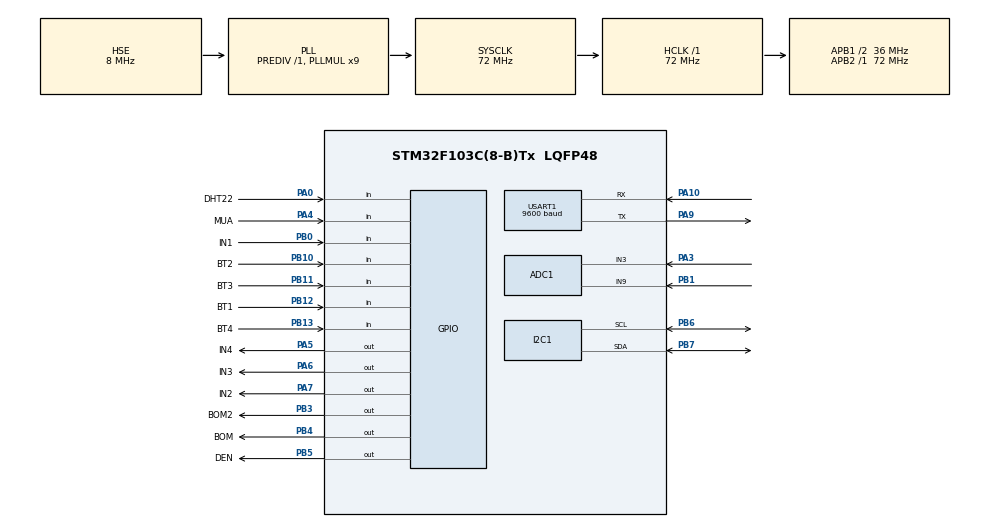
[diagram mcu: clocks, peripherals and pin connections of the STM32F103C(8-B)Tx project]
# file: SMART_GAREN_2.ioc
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ADC1.Channel-4\#ChannelRegularConversion=ADC_CHANNEL_9
ADC1.Channel-5\#ChannelRegularConversion=ADC_CHANNEL_3
ADC1.ContinuousConvMode=DISABLE
ADC1.EnableRegularConversion=ENABLE
ADC1.NbrOfConversion=2
ADC1.NbrOfConversionFlag=1
ADC1.Rank-4\#ChannelRegularConversion=1
ADC1.Rank-5\#ChannelRegularConversion=2
ADC1.SamplingTime-4\#ChannelRegularConversion=ADC_SAMPLETIME_28CYCLES_5
ADC1.SamplingTime-5\#ChannelRegularConversion=ADC_SAMPLETIME_55CYCLES_5
ADC1.master=1
Dma.ADC1.0.Direction=DMA_PERIPH_TO_MEMORY
Dma.ADC1.0.Instance=DMA1_Channel1
Dma.ADC1.0.MemDataAlignment=DMA_MDATAALIGN_HALFWORD
Dma.ADC1.0.MemInc=DMA_MINC_ENABLE
Dma.ADC1.0.Mode=DMA_CIRCULAR
Dma.ADC1.0.PeriphDataAlignment=DMA_PDATAALIGN_HALFWORD
Dma.ADC1.0.PeriphInc=DMA_PINC_DISABLE
Dma.ADC1.0.Priority=DMA_PRIORITY_LOW
Dma.Request0=ADC1
Mcu.Family=STM32F1
Mcu.Name=STM32F103C(8-B)Tx
Mcu.Package=LQFP48
NVIC.DMA1_Channel1_IRQn=true\:0\:0\:false\:false\:true\:false\:true\:true
NVIC.PriorityGroup=NVIC_PRIORITYGROUP_4
NVIC.USART1_IRQn=true\:0\:0\:false\:false\:true\:true\:true\:true
PA0-WKUP.GPIO_Label=DHT22
PA0-WKUP.Signal=GPIO_Input
PA10.Mode=Asynchronous
PA10.Signal=USART1_RX
PA13.Mode=Serial_Wire
PA13.Signal=SYS_JTMS-SWDIO
PA14.Mode=Serial_Wire
PA14.Signal=SYS_JTCK-SWCLK
PA3.Signal=ADCx_IN3
PA4.GPIO_Label=MUA
PA4.GPIO_PuPd=GPIO_PULLUP
PA4.Signal=GPIO_Input
PA5.GPIO_Label=IN4
PA5.Signal=GPIO_Output
PA6.GPIO_Label=IN3
PA6.Signal=GPIO_Output
PA7.GPIO_Label=IN2
PA7.Signal=GPIO_Output
PA9.Mode=Asynchronous
PA9.Signal=USART1_TX
PB0.GPIO_Label=IN1
PB0.Signal=GPIO_Input
PB1.Signal=ADCx_IN9
PB10.GPIO_Label=BT2
PB10.GPIO_PuPd=GPIO_PULLUP
PB10.Signal=GPIO_Input
PB11.GPIO_Label=BT3
PB11.GPIO_PuPd=GPIO_PULLUP
PB11.Signal=GPIO_Input
PB12.GPIO_Label=BT1
PB12.GPIO_PuPd=GPIO_PULLUP
PB12.Signal=GPIO_Input
PB13.GPIO_Label=BT4
PB13.GPIO_PuPd=GPIO_PULLUP
PB13.Signal=GPIO_Input
PB3.GPIO_Label=BOM2
PB3.Signal=GPIO_Output
PB4.GPIO_Label=BOM
PB4.Signal=GPIO_Output
PB5.GPIO_Label=DEN
PB5.Signal=GPIO_Output
PB6.GPIO_Pu=GPIO_PULLUP
PB6.Mode=I2C
PB6.Signal=I2C1_SCL
PB7.GPIO_Pu=GPIO_PULLUP
PB7.Mode=I2C
PB7.Signal=I2C1_SDA
PD0-OSC_IN.Mode=HSE-External-Oscillator
PD0-OSC_IN.Signal=RCC_OSC_IN
PD1-OSC_OUT.Mode=HSE-External-Oscillator
PD1-OSC_OUT.Signal=RCC_OSC_OUT
ProjectManager.HeapSize=0x200
ProjectManager.StackSize=0x400
ProjectManager.TargetToolchain=STM32CubeIDE
RCC.ADCPresc=RCC_ADCPCLK2_DIV6
RCC.AHBFreq_Value=72000000
RCC.APB1CLKDivider=RCC_HCLK_DIV2
RCC.APB1Freq_Value=36000000
RCC.APB1TimFreq_Value=72000000
RCC.APB2Freq_Value=72000000
RCC.APB2TimFreq_Value=72000000
RCC.HCLKFreq_Value=72000000
RCC.PLLMUL=RCC_PLL_MUL9
RCC.PLLSourceVirtual=RCC_PLLSOURCE_HSE
RCC.SYSCLKFreq_VALUE=72000000
RCC.SYSCLKSource=RCC_SYSCLKSOURCE_PLLCLK
RCC.USBFreq_Value=72000000
SH.ADCx_IN3.0=ADC1_IN3,IN3
SH.ADCx_IN9.0=ADC1_IN9,IN9
TIM1.Period=0xffff-1
TIM1.Prescaler=72-1
USART1.BaudRate=9600
USART1.VirtualMode=VM_ASYNC
VP_TIM1_VS_ClockSourceINT.Mode=Internal
board=custom

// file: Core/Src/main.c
/* USER CODE BEGIN Header */
/**
 ******************************************************************************
 * @file           : main.c
 * @brief          : Main program body
 ******************************************************************************
 * @attention
 *
 * <h2><center>&copy; Copyright (c) 2023 STMicroelectronics.
 * All rights reserved.</center></h2>
 *
 * This software component is licensed by ST under BSD 3-Clause license,
 * the "License"; You may not use this file except in compliance with the
 * License. You may obtain a copy of the License at:
 *                        opensource.org/licenses/BSD-3-Clause
 *
 ******************************************************************************
 */
/* USER CODE END Header */
#include "main.h"

/* USER CODE BEGIN Includes */
//#include "stdbool.h"
#include "stdio.h"			// THU VIEN GHEP CHUOI
#include "string.h"			// KIEU CHUOI
#include "i2c-lcd.h"		// THU VIEN I2C LCD
#include "button.h"			// THU VIEN N�?T NHẤN
/* USER CODE END Includes */

ADC_HandleTypeDef hadc1;
DMA_HandleTypeDef hdma_adc1;

I2C_HandleTypeDef hi2c1;

TIM_HandleTypeDef htim1;

UART_HandleTypeDef huart1;

/* USER CODE BEGIN PV */
Button_t bt1, bt2, bt3, bt4;		// khai bao bien cho thu vien nut nhaj
/* USER CODE END PV */

void SystemClock_Config(void);
static void MX_GPIO_Init(void);
static void MX_DMA_Init(void);
static void MX_ADC1_Init(void);
static void MX_I2C1_Init(void);
static void MX_USART1_UART_Init(void);
static void MX_TIM1_Init(void);

/* USER CODE BEGIN 0 */
void microDelay(uint16_t delay) {		//SU DUNG TIMER1 DE DELAY MICRO SECOND
	__HAL_TIM_SET_COUNTER(&htim1, 0);
	while (__HAL_TIM_GET_COUNTER(&htim1) < delay)
		;
}
uint32_t value_adc[2];
uint16_t DAD;
uint64_t t_prev, t_prev2;
#define DHT22_PORT GPIOA
#define DHT22_PIN GPIO_PIN_0
uint8_t RH1, RH2, TC1, TC2, SUM, CHECK;
uint32_t pMillis, cMillis;

float tCelsius = 0;
float tFahrenheit = 0;
float RH = 0;

uint8_t DHT22_Start(void) {		// KHOI TAO DHT22
	uint8_t Response = 0;
	GPIO_InitTypeDef GPIO_InitStructPrivate = { 0 };
	GPIO_InitStructPrivate.Pin = DHT22_PIN;
	GPIO_InitStructPrivate.Mode = GPIO_MODE_OUTPUT_PP;
	GPIO_InitStructPrivate.Speed = GPIO_SPEED_FREQ_LOW;
	GPIO_InitStructPrivate.Pull = GPIO_NOPULL;
	HAL_GPIO_Init(DHT22_PORT, &GPIO_InitStructPrivate); // set the pin as output

	HAL_GPIO_WritePin(DHT22_PORT, DHT22_PIN, 0);   // pull the pin low
	microDelay(1300);   // wait for 1300us
	HAL_GPIO_WritePin(DHT22_PORT, DHT22_PIN, 1);   // pull the pin high
	microDelay(30);   // wait for 30us

	GPIO_InitStructPrivate.Mode = GPIO_MODE_INPUT;
	GPIO_InitStructPrivate.Pull = GPIO_PULLUP;
	HAL_GPIO_Init(DHT22_PORT, &GPIO_InitStructPrivate); // set the pin as input
	microDelay(40);
	if (!(HAL_GPIO_ReadPin(DHT22_PORT, DHT22_PIN))) { // NEU KO DOC DHT22 KHAC 1
		microDelay(80);
		if ((HAL_GPIO_ReadPin(DHT22_PORT, DHT22_PIN))) // NEU DOC DUOC DHT Response = 1;
			Response = 1;
	}
	pMillis = HAL_GetTick();
	cMillis = HAL_GetTick();
	while ((HAL_GPIO_ReadPin(DHT22_PORT, DHT22_PIN)) && pMillis + 2 > cMillis) {
		cMillis = HAL_GetTick();
	}
	return Response;
}
uint8_t DHT22_Read(void) {		//
	uint8_t a, b;
	for (a = 0; a < 8; a++) {
		pMillis = HAL_GetTick();
		cMillis = HAL_GetTick();
		while (!(HAL_GPIO_ReadPin(DHT22_PORT, DHT22_PIN))
				&& pMillis + 2 > cMillis) {  // wait for the pin to go high
			cMillis = HAL_GetTick();
		}
		microDelay(40);   // wait for 40 us
		if (!(HAL_GPIO_ReadPin(DHT22_PORT, DHT22_PIN)))   // if the pin is low
			b &= ~(1 << (7 - a));
		else
			b |= (1 << (7 - a));
		pMillis = HAL_GetTick();
		cMillis = HAL_GetTick();
		while ((HAL_GPIO_ReadPin(DHT22_PORT, DHT22_PIN))
				&& pMillis + 2 > cMillis) {  // wait for the pin to go low
			cMillis = HAL_GetTick();
		}
	}
	return b;
}
void DHT22_value() {
	if (DHT22_Start()) {			// CHAY DHT THANH CONG
		RH1 = DHT22_Read(); // First 8bits of humidity
		RH2 = DHT22_Read(); // Second 8bits of Relative humidity
		TC1 = DHT22_Read(); // First 8bits of Celsius
		TC2 = DHT22_Read(); // Second 8bits of Celsius
		SUM = DHT22_Read(); // Check sum
		CHECK = RH1 + RH2 + TC1 + TC2;		//
		if (CHECK == SUM) {
			if (TC1 > 127) // If TC1=10000000, negative temperature
					{
				tCelsius = (float) TC2 / 10 * (-1);
			} else {
				tCelsius = (float) ((TC1 << 8) | TC2) / 10;
				// 16 bit:  0100 0010 0000 0000 | 0000 0000 0010 0001 = 0100 0010 0010 0001
			}
			tFahrenheit = tCelsius * 9 / 5 + 32;
			RH = (float) ((RH1 << 8) | RH2) / 10;
		}
	}
}
long map(long x, long in_min, long in_max, long out_min, long out_max) {
	return (x - in_min) * (out_max - out_min) / (in_max - in_min) + out_min;
}
uint8_t bom, quat, den;
uint8_t bom1, quat1, den1;
uint8_t tt = 0, tt1 = 0;
void bt_press_callback(Button_t *button) {
	if (tt == 1) {
		if (button == &bt1) {
			if (bom1 >= 1) {
				bom1 = 0;
				bom = 0;
			} else {
				bom = 1;
			}
			bom1++;
		}
		if (button == &bt2) {
			if (quat1 >= 1) {
				quat1 = 0;
				quat = 0;
			} else {
				quat = 1;
			}
			quat1++;
		}
	}
	if (button == &bt3) {
		if (den1 >= 1) {
			den1 = 0;
			den = 0;
		} else {
			den = 1;
		}
		den1++;
	}
	if (button == &bt4) {
		if (tt1 >= 1) {
			tt1 = 0;
			tt = 1;
		} else {
			tt = 0;
		}
		tt1++;
	}
}
void on_off_led(uint8_t b, uint8_t q, uint8_t d) {
	switch (b) {
	case 1:
		HAL_GPIO_WritePin(BOM_GPIO_Port, BOM_Pin, 1);
		break;
	case 0:
		HAL_GPIO_WritePin(BOM_GPIO_Port, BOM_Pin, 0);
		break;
	default:
		break;
	}
	switch (q) {
	case 1:
		HAL_GPIO_WritePin(BOM2_GPIO_Port, BOM2_Pin, 1);
		break;
	case 0:
		HAL_GPIO_WritePin(BOM2_GPIO_Port, BOM2_Pin, 0);
		break;
	default:
		break;
	}
	switch (d) {
	case 1:
		HAL_GPIO_WritePin(DEN_GPIO_Port, DEN_Pin, 1);
		break;
	case 0:
		HAL_GPIO_WritePin(DEN_GPIO_Port, DEN_Pin, 0);
		break;
	default:
		break;
	}
}
uint8_t buf1[20], buf2[20], buf3[20], buffer[30];
void show_lcd() {
	sprintf((char*) buf1, "Nhiet Do: %2.1f", tCelsius);
	sprintf((char*) buf2, "DAD:%d", DAD);
	sprintf((char*) buf3, " DA:%.1f", RH);
	//lcd_clear_display();
	lcd_goto_XY(1, 0);
	lcd_send_string((char*) buf1);
	lcd_send_data((char) 223);
	lcd_send_string("C");
	lcd_goto_XY(2, 0);
	lcd_send_string((char*) buf2);
	lcd_send_data((char) 37);
	lcd_send_string((char*) buf3);
	lcd_send_data((char) 37);
}
uint8_t DataRx[20];
uint8_t flag = 0;
void HAL_UARTEx_RxEventCallback(UART_HandleTypeDef *huart, uint16_t Size) {
	flag = 1;
	HAL_UARTEx_ReceiveToIdle_IT(&huart1, DataRx, sizeof(DataRx));
}
void check() {
	if (strcmp((char*) DataRx, "Bom1\r\n") == 0) {// neus esp gui ve "Bom1\r\n"
		bom = 1;		// bat bom
	} else if (strcmp((char*) DataRx, "Bom0\r\n") == 0) { // neus esp gui ve "Bom0\r\n"
		bom = 0;		// tat bom
	} else if (strcmp((char*) DataRx, "Quat0\r\n") == 0) {
		quat = 0;
	} else if (strcmp((char*) DataRx, "Quat1\r\n") == 0) {
		quat = 1;
	} else if (strcmp((char*) DataRx, "Den0\r\n") == 0) {
		den = 0;
	} else if (strcmp((char*) DataRx, "Den1\r\n") == 0) {
		den = 1;
	} else if (strcmp((char*) DataRx, "Trangthai0\r\n") == 0) {	// neus esp gui ve "Trangthai0\r\n"
		tt = 0; // bat che do tu dong
	} else if (strcmp((char*) DataRx, "Trangthai1\r\n") == 0) {
		tt = 1;
	}
}
void stepper_half_drive(int step) {
	switch (step) {
	case 0:
		HAL_GPIO_WritePin(IN1_GPIO_Port, IN1_Pin, GPIO_PIN_SET);   // IN1
		HAL_GPIO_WritePin(IN2_GPIO_Port, IN2_Pin, GPIO_PIN_RESET);   // IN2
		HAL_GPIO_WritePin(IN3_GPIO_Port, IN3_Pin, GPIO_PIN_RESET);   // IN3
		HAL_GPIO_WritePin(IN4_GPIO_Port, IN4_Pin, GPIO_PIN_RESET);   // IN4
		break;

	case 1:
		HAL_GPIO_WritePin(IN1_GPIO_Port, IN1_Pin, GPIO_PIN_SET);   // IN1
		HAL_GPIO_WritePin(IN2_GPIO_Port, IN2_Pin, GPIO_PIN_SET);   // IN2
		HAL_GPIO_WritePin(IN3_GPIO_Port, IN3_Pin, GPIO_PIN_RESET);   // IN3
		HAL_GPIO_WritePin(IN4_GPIO_Port, IN4_Pin, GPIO_PIN_RESET);   // IN4
		break;

	case 2:
		HAL_GPIO_WritePin(IN1_GPIO_Port, IN1_Pin, GPIO_PIN_RESET);   // IN1
		HAL_GPIO_WritePin(IN2_GPIO_Port, IN2_Pin, GPIO_PIN_SET);   // IN2
		HAL_GPIO_WritePin(IN3_GPIO_Port, IN3_Pin, GPIO_PIN_RESET);   // IN3
		HAL_GPIO_WritePin(IN4_GPIO_Port, IN4_Pin, GPIO_PIN_RESET);   // IN4
		break;

	case 3:
		HAL_GPIO_WritePin(IN1_GPIO_Port, IN1_Pin, GPIO_PIN_RESET);   // IN1
		HAL_GPIO_WritePin(IN2_GPIO_Port, IN2_Pin, GPIO_PIN_SET);   // IN2
		HAL_GPIO_WritePin(IN3_GPIO_Port, IN3_Pin, GPIO_PIN_SET);   // IN3
		HAL_GPIO_WritePin(IN4_GPIO_Port, IN4_Pin, GPIO_PIN_RESET);   // IN4
		break;

	case 4:
		HAL_GPIO_WritePin(IN1_GPIO_Port, IN1_Pin, GPIO_PIN_RESET);   // IN1
		HAL_GPIO_WritePin(IN2_GPIO_Port, IN2_Pin, GPIO_PIN_RESET);   // IN2
		HAL_GPIO_WritePin(IN3_GPIO_Port, IN3_Pin, GPIO_PIN_SET);   // IN3
		HAL_GPIO_WritePin(IN4_GPIO_Port, IN4_Pin, GPIO_PIN_RESET);   // IN4
		break;

	case 5:
		HAL_GPIO_WritePin(IN1_GPIO_Port, IN1_Pin, GPIO_PIN_RESET);   // IN1
		HAL_GPIO_WritePin(IN2_GPIO_Port, IN2_Pin, GPIO_PIN_RESET);   // IN2
		HAL_GPIO_WritePin(IN3_GPIO_Port, IN3_Pin, GPIO_PIN_SET);   // IN3
		HAL_GPIO_WritePin(IN4_GPIO_Port, IN4_Pin, GPIO_PIN_SET);   // IN4
		break;

	case 6:
		HAL_GPIO_WritePin(IN1_GPIO_Port, IN1_Pin, GPIO_PIN_RESET);   // IN1
		HAL_GPIO_WritePin(IN2_GPIO_Port, IN2_Pin, GPIO_PIN_RESET);   // IN2
		HAL_GPIO_WritePin(IN3_GPIO_Port, IN3_Pin, GPIO_PIN_RESET);   // IN3
		HAL_GPIO_WritePin(IN4_GPIO_Port, IN4_Pin, GPIO_PIN_SET);   // IN4
		break;

	case 7:
		HAL_GPIO_WritePin(IN1_GPIO_Port, IN1_Pin, GPIO_PIN_SET);   // IN1
		HAL_GPIO_WritePin(IN2_GPIO_Port, IN2_Pin, GPIO_PIN_RESET);   // IN2
		HAL_GPIO_WritePin(IN3_GPIO_Port, IN3_Pin, GPIO_PIN_RESET);   // IN3
		HAL_GPIO_WritePin(IN4_GPIO_Port, IN4_Pin, GPIO_PIN_SET);   // IN4
		break;

	}
}
#define stepsperrev 4096
void stepper_set_rpm(int rpm) // Set rpm--> max 13, min 1,,,  went to 14 rev/min
{
	microDelay(60000000 / stepsperrev / rpm);
}
void stepper_step_angle(float angle, int direction, int rpm) {
	float anglepersequence = 0.703125;  // 360 = 512 sequences
	int numberofsequences = (int) (angle / anglepersequence);

	for (int seq = 0; seq < numberofsequences; seq++) {
		if (direction == 0) { // for clockwise
			for (int step = 7; step >= 0; step--) {
				stepper_half_drive(step);
				stepper_set_rpm(rpm);
			}

		} else if (direction == 1) { // for anti-clockwise
			for (int step = 0; step < 8; step++) {
				stepper_half_drive(step);
				stepper_set_rpm(rpm);
			}
		}
	}
}
uint8_t cb_mua, check_cbmua;
/* USER CODE END 0 */

int main(void)
{

  /* MCU Configuration--------------------------------------------------------*/

  /* Reset of all peripherals, Initializes the Flash interface and the Systick. */
  HAL_Init();

  /* Configure the system clock */
  SystemClock_Config();

  /* Initialize all configured peripherals */
  MX_GPIO_Init();
  MX_DMA_Init();
  MX_ADC1_Init();
  MX_I2C1_Init();
  MX_USART1_UART_Init();
  MX_TIM1_Init();
  /* USER CODE BEGIN 2 */
	Button_Init(&bt1, BT1_GPIO_Port, BT1_Pin);			//
	Button_Init(&bt2, BT2_GPIO_Port, BT2_Pin);
	Button_Init(&bt3, BT3_GPIO_Port, BT3_Pin);
	Button_Init(&bt4, BT4_GPIO_Port, BT4_Pin);

	HAL_UARTEx_ReceiveToIdle_IT(&huart1, DataRx, sizeof(DataRx));// khoi tao ngat nahn du lieu

	HAL_ADC_Start_DMA(&hadc1, value_adc, 2);		// khoi tao doc analog
	HAL_ADCEx_Calibration_Start(&hadc1);		// tinh toan analog
	HAL_TIM_Base_Start(&htim1);			// chay timer 1
	lcd_init();			// khoi tao chay lcd
	lcd_goto_XY(1, 0);
	lcd_send_string("XIN CHAO");
	t_prev = HAL_GetTick();
	t_prev2 = HAL_GetTick();
  /* USER CODE END 2 */

  /* Infinite loop */
  /* USER CODE BEGIN WHILE */
	while (1) {		// chay
		cb_mua = HAL_GPIO_ReadPin(MUA_GPIO_Port, MUA_Pin);	// doc cam bien mua
		if (HAL_GPIO_ReadPin(MUA_GPIO_Port, MUA_Pin) == 0) {// neu cam bien mua = 0
			stepper_step_angle(360, 1, 13);		// donc co dong
			check_cbmua = 1;
			t_prev2 = HAL_GetTick();
		}
		if (HAL_GPIO_ReadPin(MUA_GPIO_Port, MUA_Pin) == 1) {// neu kko mua thi dong lai
			if (check_cbmua == 1) {
				if (HAL_GetTick() - t_prev2 >= 2000) {
					stepper_step_angle(360, 0, 13);		// dong co dong
					check_cbmua = 0;
				}
			}
		}
		bt_handle(&bt1);		// ktra nut nhan
		bt_handle(&bt2);
		bt_handle(&bt3);
		bt_handle(&bt4);
		on_off_led(bom, quat, den);		// bat tat thiet bi
		if (flag == 1) {		// neu nhan duoc du lieu
			check();
			memset(DataRx, 0, strlen((char*) DataRx));
			flag = 0;
		}
		if (HAL_GetTick() - t_prev >= 100) {	// moi 100ms se cho chay 1 lan
			DHT22_value();		// doc dht
			HAL_ADC_Start_DMA(&hadc1, value_adc, 2);
			DAD = map(value_adc[0], 0, 4096, 0, 100);
			if (tt == 0) {		// dang o che do tu dong
				if (tCelsius >= 30) {		// nhiet do lon hon 30
					quat = 1;			// quat bat
				}
				if (tCelsius < 30) {
					quat = 0;
				}

				if (value_adc[1] >= 2500) {		// cam bien anh sang
					den  = 1;
				}
				if (value_adc[1] < 2500) {
					den = 0;
				}
			}
			show_lcd();		// hien thi lcd
			// gui len esp
			sprintf((char*) buffer, "%.1f/%.1f/%d/%d/%d/%d/%d\n", tCelsius, RH,
					DAD, bom, quat, den, tt);
			/// ghep chuoi duoi bao gom nhung du lieu : nhiet do, do am, do am dat, ...
			HAL_UART_Transmit(&huart1, buffer, strlen((char*) buffer), 1000);// gui chuoi len esp
			t_prev = HAL_GetTick();
		}

    /* USER CODE END WHILE */

	}
}

void SystemClock_Config(void)
{
  RCC_OscInitTypeDef RCC_OscInitStruct = {0};
  RCC_ClkInitTypeDef RCC_ClkInitStruct = {0};
  RCC_PeriphCLKInitTypeDef PeriphClkInit = {0};

  /** Initializes the RCC Oscillators according to the specified parameters
  * in the RCC_OscInitTypeDef structure.
  */
  RCC_OscInitStruct.OscillatorType = RCC_OSCILLATORTYPE_HSE;
  RCC_OscInitStruct.HSEState = RCC_HSE_ON;
  RCC_OscInitStruct.HSEPredivValue = RCC_HSE_PREDIV_DIV1;
  RCC_OscInitStruct.HSIState = RCC_HSI_ON;
  RCC_OscInitStruct.PLL.PLLState = RCC_PLL_ON;
  RCC_OscInitStruct.PLL.PLLSource = RCC_PLLSOURCE_HSE;
  RCC_OscInitStruct.PLL.PLLMUL = RCC_PLL_MUL9;
  if (HAL_RCC_OscConfig(&RCC_OscInitStruct) != HAL_OK)
  {
    Error_Handler();
  }

  /** Initializes the CPU, AHB and APB buses clocks
  */
  RCC_ClkInitStruct.ClockType = RCC_CLOCKTYPE_HCLK|RCC_CLOCKTYPE_SYSCLK
                              |RCC_CLOCKTYPE_PCLK1|RCC_CLOCKTYPE_PCLK2;
  RCC_ClkInitStruct.SYSCLKSource = RCC_SYSCLKSOURCE_PLLCLK;
  RCC_ClkInitStruct.AHBCLKDivider = RCC_SYSCLK_DIV1;
  RCC_ClkInitStruct.APB1CLKDivider = RCC_HCLK_DIV2;
  RCC_ClkInitStruct.APB2CLKDivider = RCC_HCLK_DIV1;

  if (HAL_RCC_ClockConfig(&RCC_ClkInitStruct, FLASH_LATENCY_2) != HAL_OK)
  {
    Error_Handler();
  }
  PeriphClkInit.PeriphClockSelection = RCC_PERIPHCLK_ADC;
  PeriphClkInit.AdcClockSelection = RCC_ADCPCLK2_DIV6;
  if (HAL_RCCEx_PeriphCLKConfig(&PeriphClkInit) != HAL_OK)
  {
    Error_Handler();
  }
}

static void MX_ADC1_Init(void)
{

  ADC_ChannelConfTypeDef sConfig = {0};

  /** Common config
  */
  hadc1.Instance = ADC1;
  hadc1.Init.ScanConvMode = ADC_SCAN_ENABLE;
  hadc1.Init.ContinuousConvMode = DISABLE;
  hadc1.Init.DiscontinuousConvMode = DISABLE;
  hadc1.Init.ExternalTrigConv = ADC_SOFTWARE_START;
  hadc1.Init.DataAlign = ADC_DATAALIGN_RIGHT;
  hadc1.Init.NbrOfConversion = 2;
  if (HAL_ADC_Init(&hadc1) != HAL_OK)
  {
    Error_Handler();
  }

  /** Configure Regular Channel
  */
  sConfig.Channel = ADC_CHANNEL_9;
  sConfig.Rank = ADC_REGULAR_RANK_1;
  sConfig.SamplingTime = ADC_SAMPLETIME_28CYCLES_5;
  if (HAL_ADC_ConfigChannel(&hadc1, &sConfig) != HAL_OK)
  {
    Error_Handler();
  }

  /** Configure Regular Channel
  */
  sConfig.Channel = ADC_CHANNEL_3;
  sConfig.Rank = ADC_REGULAR_RANK_2;
  sConfig.SamplingTime = ADC_SAMPLETIME_55CYCLES_5;
  if (HAL_ADC_ConfigChannel(&hadc1, &sConfig) != HAL_OK)
  {
    Error_Handler();
  }

}

static void MX_I2C1_Init(void)
{

  hi2c1.Instance = I2C1;
  hi2c1.Init.ClockSpeed = 100000;
  hi2c1.Init.DutyCycle = I2C_DUTYCYCLE_2;
  hi2c1.Init.OwnAddress1 = 0;
  hi2c1.Init.AddressingMode = I2C_ADDRESSINGMODE_7BIT;
  hi2c1.Init.DualAddressMode = I2C_DUALADDRESS_DISABLE;
  hi2c1.Init.OwnAddress2 = 0;
  hi2c1.Init.GeneralCallMode = I2C_GENERALCALL_DISABLE;
  hi2c1.Init.NoStretchMode = I2C_NOSTRETCH_DISABLE;
  if (HAL_I2C_Init(&hi2c1) != HAL_OK)
  {
    Error_Handler();
  }

}

static void MX_TIM1_Init(void)
{

  TIM_ClockConfigTypeDef sClockSourceConfig = {0};
  TIM_MasterConfigTypeDef sMasterConfig = {0};

  htim1.Instance = TIM1;
  htim1.Init.Prescaler = 72-1;
  htim1.Init.CounterMode = TIM_COUNTERMODE_UP;
  htim1.Init.Period = 0xffff-1;
  htim1.Init.ClockDivision = TIM_CLOCKDIVISION_DIV1;
  htim1.Init.RepetitionCounter = 0;
  htim1.Init.AutoReloadPreload = TIM_AUTORELOAD_PRELOAD_DISABLE;
  if (HAL_TIM_Base_Init(&htim1) != HAL_OK)
  {
    Error_Handler();
  }
  sClockSourceConfig.ClockSource = TIM_CLOCKSOURCE_INTERNAL;
  if (HAL_TIM_ConfigClockSource(&htim1, &sClockSourceConfig) != HAL_OK)
  {
    Error_Handler();
  }
  sMasterConfig.MasterOutputTrigger = TIM_TRGO_RESET;
  sMasterConfig.MasterSlaveMode = TIM_MASTERSLAVEMODE_DISABLE;
  if (HAL_TIMEx_MasterConfigSynchronization(&htim1, &sMasterConfig) != HAL_OK)
  {
    Error_Handler();
  }

}

static void MX_USART1_UART_Init(void)
{

  huart1.Instance = USART1;
  huart1.Init.BaudRate = 9600;
  huart1.Init.WordLength = UART_WORDLENGTH_8B;
  huart1.Init.StopBits = UART_STOPBITS_1;
  huart1.Init.Parity = UART_PARITY_NONE;
  huart1.Init.Mode = UART_MODE_TX_RX;
  huart1.Init.HwFlowCtl = UART_HWCONTROL_NONE;
  huart1.Init.OverSampling = UART_OVERSAMPLING_16;
  if (HAL_UART_Init(&huart1) != HAL_OK)
  {
    Error_Handler();
  }

}

static void MX_DMA_Init(void)
{

  /* DMA controller clock enable */
  __HAL_RCC_DMA1_CLK_ENABLE();

  /* DMA interrupt init */
  /* DMA1_Channel1_IRQn interrupt configuration */
  HAL_NVIC_SetPriority(DMA1_Channel1_IRQn, 0, 0);
  HAL_NVIC_EnableIRQ(DMA1_Channel1_IRQn);

}

static void MX_GPIO_Init(void)
{
  GPIO_InitTypeDef GPIO_InitStruct = {0};

  /* GPIO Ports Clock Enable */
  __HAL_RCC_GPIOD_CLK_ENABLE();
  __HAL_RCC_GPIOA_CLK_ENABLE();
  __HAL_RCC_GPIOB_CLK_ENABLE();

  /*Configure GPIO pin Output Level */
  HAL_GPIO_WritePin(GPIOA, IN4_Pin|IN3_Pin|IN2_Pin, GPIO_PIN_RESET);

  /*Configure GPIO pin Output Level */
  HAL_GPIO_WritePin(GPIOB, BOM2_Pin|BOM_Pin|DEN_Pin, GPIO_PIN_RESET);

  /*Configure GPIO pin : DHT22_Pin */
  GPIO_InitStruct.Pin = DHT22_Pin;
  GPIO_InitStruct.Mode = GPIO_MODE_INPUT;
  GPIO_InitStruct.Pull = GPIO_NOPULL;
  HAL_GPIO_Init(DHT22_GPIO_Port, &GPIO_InitStruct);

  /*Configure GPIO pin : MUA_Pin */
  GPIO_InitStruct.Pin = MUA_Pin;
  GPIO_InitStruct.Mode = GPIO_MODE_INPUT;
  GPIO_InitStruct.Pull = GPIO_PULLUP;
  HAL_GPIO_Init(MUA_GPIO_Port, &GPIO_InitStruct);

  /*Configure GPIO pins : IN4_Pin IN3_Pin IN2_Pin */
  GPIO_InitStruct.Pin = IN4_Pin|IN3_Pin|IN2_Pin;
  GPIO_InitStruct.Mode = GPIO_MODE_OUTPUT_PP;
  GPIO_InitStruct.Pull = GPIO_NOPULL;
  GPIO_InitStruct.Speed = GPIO_SPEED_FREQ_LOW;
  HAL_GPIO_Init(GPIOA, &GPIO_InitStruct);

  /*Configure GPIO pin : IN1_Pin */
  GPIO_InitStruct.Pin = IN1_Pin;
  GPIO_InitStruct.Mode = GPIO_MODE_INPUT;
  GPIO_InitStruct.Pull = GPIO_NOPULL;
  HAL_GPIO_Init(IN1_GPIO_Port, &GPIO_InitStruct);

  /*Configure GPIO pins : BT2_Pin BT3_Pin BT1_Pin BT4_Pin */
  GPIO_InitStruct.Pin = BT2_Pin|BT3_Pin|BT1_Pin|BT4_Pin;
  GPIO_InitStruct.Mode = GPIO_MODE_INPUT;
  GPIO_InitStruct.Pull = GPIO_PULLUP;
  HAL_GPIO_Init(GPIOB, &GPIO_InitStruct);

  /*Configure GPIO pins : BOM2_Pin BOM_Pin DEN_Pin */
  GPIO_InitStruct.Pin = BOM2_Pin|BOM_Pin|DEN_Pin;
  GPIO_InitStruct.Mode = GPIO_MODE_OUTPUT_PP;
  GPIO_InitStruct.Pull = GPIO_NOPULL;
  GPIO_InitStruct.Speed = GPIO_SPEED_FREQ_LOW;
  HAL_GPIO_Init(GPIOB, &GPIO_InitStruct);

}

void Error_Handler(void)
{
	__disable_irq();
	while (1) {
	}
}
